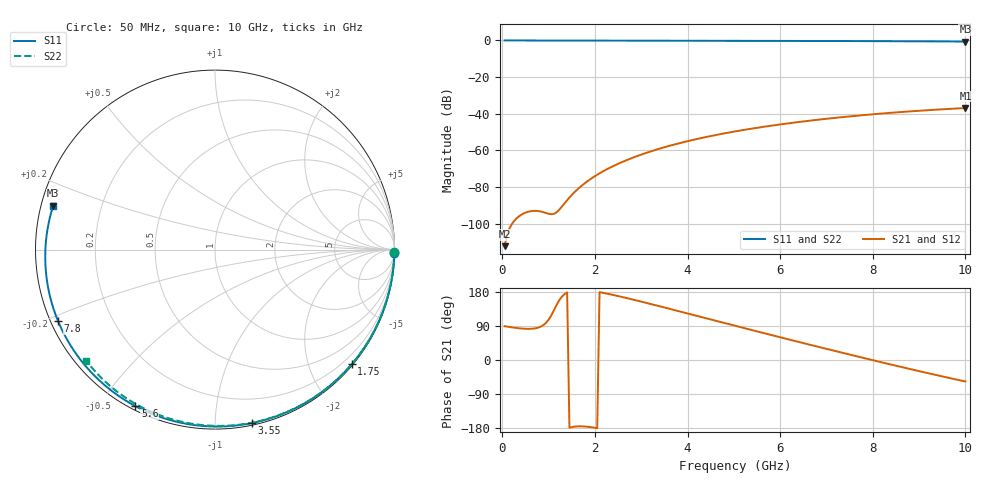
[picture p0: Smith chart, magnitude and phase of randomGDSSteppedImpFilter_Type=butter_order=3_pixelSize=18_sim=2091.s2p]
! freq	dB(S11)	phase(S11)	dB(S12)	phase(S12)
!  dB(S21)	phase(S21)	dB(S22)	phase(S22)
!S-par simulation data
#  GHz  S  DB  R 50
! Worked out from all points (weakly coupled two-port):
!   200 points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, 50 MHz to 10 GHz, reference 50 ohm
!   highest |S21| = -36.89 dB at 10 GHz (marker M1); lowest = -112.3 dB at 50 MHz (marker M2)
!   lowest |S11| = -0.6 dB at 10 GHz (marker M3), VSWR 29.29, Z = 1.74 + j6.65 ohm
!   |S11| at or under -10 dB: nowhere
!   |S22| runs from -0.5 to 0.0 dB; largest |S21 - S12| = 0
!   S11 on the Smith chart (normalised r, x): 50 MHz: 0, -98; 1.75 GHz: 0.02, -2.75; 3.55 GHz: 0.01, -1.23; 5.6 GHz: 0.01, -0.61; 7.8 GHz: 0.02, -0.22; 10 GHz: 0.03, +0.13
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0.05  -0.00 -1.2  -112.29 89.2  -112.29 89.2  -0.00 -0.8
0.4  -0.01 -9.3  -95.28 83.3  -95.28 83.3  -0.01 -6.4
0.8  -0.02 -18.5  -93.21 86.5  -93.21 86.5  -0.02 -12.8
1.2  -0.03 -27.6  -93.16 151.7  -93.16 151.7  -0.02 -19.2
1.65  -0.05 -37.7  -80.67 -175.0  -80.67 -175.0  -0.03 -26.3
1.7  -0.05 -38.8  -79.58 -175.0  -79.58 -175.0  -0.03 -27.0
1.75  -0.05 -39.9  -78.55 -175.3  -78.55 -175.3  -0.04 -27.8
2.05  -0.06 -46.5  -73.29 -179.9  -73.29 -179.9  -0.04 -32.5
2.45  -0.07 -55.2  -67.92 170.2  -67.92 170.2  -0.05 -38.6
2.9  -0.08 -64.7  -63.21 157.1  -63.21 157.1  -0.06 -45.5
3.4  -0.10 -75.0  -59.03 141.7  -59.03 141.7  -0.07 -52.9
3.55  -0.10 -78.0  -57.93 137.1  -57.93 137.1  -0.07 -55.1
4.3  -0.13 -92.7  -53.25 113.3  -53.25 113.3  -0.09 -65.9
5.05  -0.16 -106.9  -49.55 89.6  -49.55 89.6  -0.12 -76.4
5.6  -0.19 -116.9  -47.29 72.4  -47.29 72.4  -0.14 -83.9
6.15  -0.22 -126.7  -45.33 55.3  -45.33 55.3  -0.16 -91.3
6.7  -0.26 -136.4  -43.60 38.5  -43.60 38.5  -0.19 -98.4
7.25  -0.30 -146.0  -42.08 21.8  -42.08 21.8  -0.22 -105.4
7.8  -0.35 -155.6  -40.74 5.4  -40.74 5.4  -0.26 -112.3
8.35  -0.40 -165.2  -39.57 -10.7  -39.57 -10.7  -0.30 -119.1
9.2  -0.49 179.6  -38.04 -35.0  -38.04 -35.0  -0.38 -129.5
10  -0.59 164.8  -36.89 -56.7  -36.89 -56.7  -0.47 -139.2
